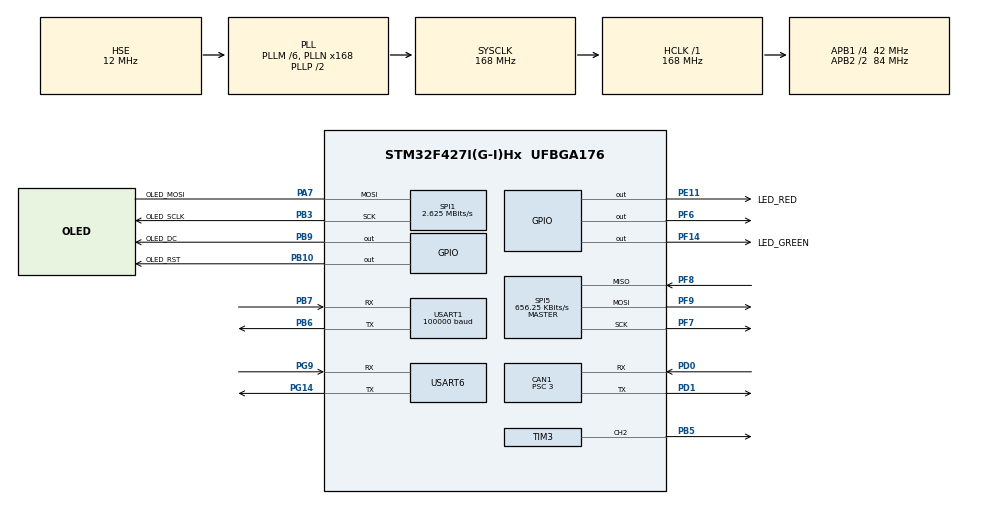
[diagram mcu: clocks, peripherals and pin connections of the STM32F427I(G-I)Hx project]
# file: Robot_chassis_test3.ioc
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CAN1.BS1=CAN_BS1_9TQ
CAN1.BS2=CAN_BS2_4TQ
CAN1.CalculateTimeQuantum=71.42857142857143
CAN1.Prescaler=3
CAN1.SJW=CAN_SJW_1TQ
Dma.Request0=USART1_RX
Dma.USART1_RX.0.Direction=DMA_PERIPH_TO_MEMORY
Dma.USART1_RX.0.FIFOMode=DMA_FIFOMODE_DISABLE
Dma.USART1_RX.0.Instance=DMA2_Stream2
Dma.USART1_RX.0.MemDataAlignment=DMA_MDATAALIGN_BYTE
Dma.USART1_RX.0.MemInc=DMA_MINC_ENABLE
Dma.USART1_RX.0.Mode=DMA_NORMAL
Dma.USART1_RX.0.PeriphDataAlignment=DMA_PDATAALIGN_BYTE
Dma.USART1_RX.0.PeriphInc=DMA_PINC_DISABLE
Dma.USART1_RX.0.Priority=DMA_PRIORITY_LOW
FREERTOS.Tasks01=vStart_Task,3,128,StartTask,Default,NULL,Dynamic,NULL,NULL;vInitial_Task,0,128,Initial_Task,Default,NULL,Dynamic,NULL,NULL;vChassis_Task,0,128,Chassis_Task,Default,NULL,Dynamic,NULL,NULL;vGimbal_Task,1,128,Gimbal_Task,Default,NULL,Dynamic,NULL,NULL;vProtect_Task,-2,128,Protect_Task,Default,NULL,Dynamic,NULL,NULL;vTask_10ms,2,128,Task_10ms,Default,NULL,Dynamic,NULL,NULL;vOut_Control,3,128,Out_Control,Default,NULL,Dynamic,NULL,NULL;vRevolver_Task,2,128,Revolver_Task,Default,NULL,Dynamic,NULL,NULL;vTest_Task,0,128,Test_Task,Default,NULL,Dynamic,NULL,NULL
FREERTOS.configGENERATE_RUN_TIME_STATS=1
FREERTOS.configUSE_STATS_FORMATTING_FUNCTIONS=1
FREERTOS.configUSE_TRACE_FACILITY=1
Mcu.Family=STM32F4
Mcu.Name=STM32F427I(G-I)Hx
Mcu.Package=UFBGA176
NVIC.CAN1_RX0_IRQn=true\:12\:0\:true\:false\:true\:true\:true\:true
NVIC.CAN1_TX_IRQn=true\:12\:0\:true\:false\:true\:true\:true\:true
NVIC.DMA2_Stream2_IRQn=true\:5\:0\:false\:false\:true\:true\:false\:true
NVIC.PriorityGroup=NVIC_PRIORITYGROUP_4
NVIC.TIM4_IRQn=true\:5\:0\:false\:false\:true\:true\:true\:true
NVIC.USART1_IRQn=true\:6\:0\:true\:false\:true\:true\:true\:true
PA13.Mode=Serial_Wire
PA13.Signal=SYS_JTMS-SWDIO
PA14.Mode=Serial_Wire
PA14.Signal=SYS_JTCK-SWCLK
PA7.GPIO_Label=OLED_MOSI
PA7.Mode=Simplex_Bidirectional_Master
PA7.Signal=SPI1_MOSI
PB10.GPIO_Label=OLED_RST
PB10.Signal=GPIO_Output
PB3.GPIO_Label=OLED_SCLK
PB3.Mode=Simplex_Bidirectional_Master
PB3.Signal=SPI1_SCK
PB5.GPIO_Speed=GPIO_SPEED_FREQ_VERY_HIGH
PB5.Signal=S_TIM3_CH2
PB6.Mode=Asynchronous
PB6.Signal=USART1_TX
PB7.Mode=Asynchronous
PB7.Signal=USART1_RX
PB9.GPIO_Label=OLED_DC
PB9.Signal=GPIO_Output
PD0.Mode=Master
PD0.Signal=CAN1_RX
PD1.Mode=Master
PD1.Signal=CAN1_TX
PE11.GPIO_Label=LED_RED
PE11.Signal=GPIO_Output
PF14.GPIO_Label=LED_GREEN
PF14.Signal=GPIO_Output
PF6.PinState=GPIO_PIN_SET
PF6.Signal=GPIO_Output
PF7.Mode=Full_Duplex_Master
PF7.Signal=SPI5_SCK
PF8.Mode=Full_Duplex_Master
PF8.Signal=SPI5_MISO
PF9.Mode=Full_Duplex_Master
PF9.Signal=SPI5_MOSI
PG14.Mode=Asynchronous
PG14.Signal=USART6_TX
PG9.Mode=Asynchronous
PG9.Signal=USART6_RX
PH0/OSC_IN.Mode=HSE-External-Oscillator
PH0/OSC_IN.Signal=RCC_OSC_IN
PH1/OSC_OUT.Mode=HSE-External-Oscillator
PH1/OSC_OUT.Signal=RCC_OSC_OUT
ProjectManager.HeapSize=0x200
ProjectManager.StackSize=0x400
ProjectManager.TargetToolchain=MDK-ARM V5
RCC.48MHZClocksFreq_Value=84000000
RCC.AHBFreq_Value=168000000
RCC.APB1CLKDivider=RCC_HCLK_DIV4
RCC.APB1Freq_Value=42000000
RCC.APB1TimFreq_Value=84000000
RCC.APB2CLKDivider=RCC_HCLK_DIV2
RCC.APB2Freq_Value=84000000
RCC.APB2TimFreq_Value=168000000
RCC.CortexFreq_Value=168000000
RCC.HCLKFreq_Value=168000000
RCC.HSE_VALUE=12000000
RCC.HSI_VALUE=16000000
RCC.LSE_VALUE=32768
RCC.PLLM=6
RCC.PLLN=168
RCC.PLLSourceVirtual=RCC_PLLSOURCE_HSE
RCC.SYSCLKFreq_VALUE=168000000
RCC.SYSCLKSource=RCC_SYSCLKSOURCE_PLLCLK
RCC.VCOOutputFreq_Value=336000000
SH.S_TIM3_CH2.0=TIM3_CH2,PWM Generation2 CH2
SPI1.BaudRatePrescaler=SPI_BAUDRATEPRESCALER_32
SPI1.CalculateBaudRate=2.625 MBits/s
SPI1.Direction=SPI_DIRECTION_1LINE
SPI1.Mode=SPI_MODE_MASTER
SPI1.VirtualType=VM_MASTER
SPI5.BaudRatePrescaler=SPI_BAUDRATEPRESCALER_128
SPI5.CalculateBaudRate=656.25 KBits/s
SPI5.Direction=SPI_DIRECTION_2LINES
SPI5.Mode=SPI_MODE_MASTER
SPI5.VirtualType=VM_MASTER
TIM3.Channel-PWM\ Generation2\ CH2=TIM_CHANNEL_2
TIM3.Period=4199
TIM3.Prescaler=9
TIM4.AutoReloadPreload=TIM_AUTORELOAD_PRELOAD_ENABLE
TIM4.Period=839
TIM4.Prescaler=99
USART1.BaudRate=100000
USART1.VirtualMode=VM_ASYNC
USART6.VirtualMode=VM_ASYNC
VP_FREERTOS_VS_CMSIS_V1.Mode=CMSIS_V1
VP_TIM4_VS_ClockSourceINT.Mode=Internal
board=custom

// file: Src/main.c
/* USER CODE BEGIN Header */
/**
  ******************************************************************************
  * @file           : main.c
  * @brief          : Main program body
  ******************************************************************************
  * @attention
  *
  * <h2><center>&copy; Copyright (c) 2019 STMicroelectronics.
  * All rights reserved.</center></h2>
  *
  * This software component is licensed by ST under Ultimate Liberty license
  * SLA0044, the "License"; You may not use this file except in compliance with
  * the License. You may obtain a copy of the License at:
  *                             www.st.com/SLA0044
  *
  ******************************************************************************
  */
/* USER CODE END Header */

#include "main.h"
#include "cmsis_os.h"
#include "can.h"
#include "dma.h"
#include "spi.h"
#include "tim.h"
#include "usart.h"
#include "gpio.h"

void SystemClock_Config(void);
void MX_FREERTOS_Init(void);

int main(void)
{

  /* MCU Configuration--------------------------------------------------------*/

  /* Reset of all peripherals, Initializes the Flash interface and the Systick. */
  HAL_Init();

  /* Configure the system clock */
  SystemClock_Config();

  /* Initialize all configured peripherals */
  MX_GPIO_Init();
  MX_DMA_Init();
  MX_CAN1_Init();
  MX_SPI1_Init();
  MX_USART1_UART_Init();
  MX_USART6_UART_Init();
  MX_SPI5_Init();
  MX_TIM3_Init();
  MX_TIM4_Init();
  /* USER CODE BEGIN 2 */
	can_user_init(&hcan1);															//can设备准备好
	HAL_UART_Receive_IT_IDLE(&huart1,UART_Buffer,100);   //启动串口接收

  /* USER CODE END 2 */

  /* Call init function for freertos objects (in freertos.c) */
  MX_FREERTOS_Init();

  /* Start scheduler */
  osKernelStart();

  /* We should never get here as control is now taken by the scheduler */

  /* Infinite loop */
  while (1)
  {

  }
}

void SystemClock_Config(void)
{
  RCC_OscInitTypeDef RCC_OscInitStruct = {0};
  RCC_ClkInitTypeDef RCC_ClkInitStruct = {0};

  /** Configure the main internal regulator output voltage
  */
  __HAL_RCC_PWR_CLK_ENABLE();
  __HAL_PWR_VOLTAGESCALING_CONFIG(PWR_REGULATOR_VOLTAGE_SCALE1);
  /** Initializes the CPU, AHB and APB busses clocks
  */
  RCC_OscInitStruct.OscillatorType = RCC_OSCILLATORTYPE_HSE;
  RCC_OscInitStruct.HSEState = RCC_HSE_ON;
  RCC_OscInitStruct.PLL.PLLState = RCC_PLL_ON;
  RCC_OscInitStruct.PLL.PLLSource = RCC_PLLSOURCE_HSE;
  RCC_OscInitStruct.PLL.PLLM = 6;
  RCC_OscInitStruct.PLL.PLLN = 168;
  RCC_OscInitStruct.PLL.PLLP = RCC_PLLP_DIV2;
  RCC_OscInitStruct.PLL.PLLQ = 4;
  if (HAL_RCC_OscConfig(&RCC_OscInitStruct) != HAL_OK)
  {
    Error_Handler();
  }
  /** Initializes the CPU, AHB and APB busses clocks
  */
  RCC_ClkInitStruct.ClockType = RCC_CLOCKTYPE_HCLK|RCC_CLOCKTYPE_SYSCLK
                              |RCC_CLOCKTYPE_PCLK1|RCC_CLOCKTYPE_PCLK2;
  RCC_ClkInitStruct.SYSCLKSource = RCC_SYSCLKSOURCE_PLLCLK;
  RCC_ClkInitStruct.AHBCLKDivider = RCC_SYSCLK_DIV1;
  RCC_ClkInitStruct.APB1CLKDivider = RCC_HCLK_DIV4;
  RCC_ClkInitStruct.APB2CLKDivider = RCC_HCLK_DIV2;

  if (HAL_RCC_ClockConfig(&RCC_ClkInitStruct, FLASH_LATENCY_5) != HAL_OK)
  {
    Error_Handler();
  }
}

void Error_Handler(void)
{
}

/************************ (C) COPYRIGHT STMicroelectronics *****END OF FILE****/

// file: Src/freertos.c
/* USER CODE BEGIN Header */
/**
  ******************************************************************************
  * File Name          : freertos.c
  * Description        : Code for freertos applications
  ******************************************************************************
  * @attention
  *
  * <h2><center>&copy; Copyright (c) 2019 STMicroelectronics.
  * All rights reserved.</center></h2>
  *
  * This software component is licensed by ST under Ultimate Liberty license
  * SLA0044, the "License"; You may not use this file except in compliance with
  * the License. You may obtain a copy of the License at:
  *                             www.st.com/SLA0044
  *
  ******************************************************************************
  */
/* USER CODE END Header */

#include "FreeRTOS.h"
#include "task.h"
#include "main.h"
#include "cmsis_os.h"

/* USER CODE BEGIN Includes */
#include "Initial_Task.h"

#include "Chassis_Task.h"

#include "dji_remote.h"
/* USER CODE END Includes */

/* USER CODE BEGIN PTD */
#define SYSTEM_TEST 0 			//测试程序，用来测试各个模块的状态通过0 1来控制
#define SYSTEM_PROTCET 1		//保护程序开启控制0 1控制
/* USER CODE END PTD */

osThreadId vStart_TaskHandle;
osThreadId vInitial_TaskHandle;
osThreadId vChassis_TaskHandle;
osThreadId vGimbal_TaskHandle;
osThreadId vProtect_TaskHandle;
osThreadId vTask_10msHandle;
osThreadId vOut_ControlHandle;
osThreadId vRevolver_TaskHandle;
osThreadId vTest_TaskHandle;

void StartTask(void const * argument);
void Initial_Task(void const * argument);
void Chassis_Task(void const * argument);
void Gimbal_Task(void const * argument);
void Protect_Task(void const * argument);
void Task_10ms(void const * argument);
void Out_Control(void const * argument);
void Revolver_Task(void const * argument);
void Test_Task(void const * argument);

void MX_FREERTOS_Init(void); /* (MISRA C 2004 rule 8.1) */

/* GetIdleTaskMemory prototype (linked to static allocation support) */
void vApplicationGetIdleTaskMemory( StaticTask_t **ppxIdleTaskTCBBuffer, StackType_t **ppxIdleTaskStackBuffer, uint32_t *pulIdleTaskStackSize );

/* Hook prototypes */
void configureTimerForRunTimeStats(void);
unsigned long getRunTimeCounterValue(void);

/* USER CODE BEGIN 1 */
/* Functions needed when configGENERATE_RUN_TIME_STATS is on */
__weak void configureTimerForRunTimeStats(void)
{

}

__weak unsigned long getRunTimeCounterValue(void)
{
	return 0;
}
/* USER CODE END 1 */

/* USER CODE BEGIN GET_IDLE_TASK_MEMORY */
static StaticTask_t xIdleTaskTCBBuffer;
static StackType_t xIdleStack[configMINIMAL_STACK_SIZE];

void vApplicationGetIdleTaskMemory( StaticTask_t **ppxIdleTaskTCBBuffer, StackType_t **ppxIdleTaskStackBuffer, uint32_t *pulIdleTaskStackSize )
{
  *ppxIdleTaskTCBBuffer = &xIdleTaskTCBBuffer;
  *ppxIdleTaskStackBuffer = &xIdleStack[0];
  *pulIdleTaskStackSize = configMINIMAL_STACK_SIZE;
  /* place for user code */
}
/* USER CODE END GET_IDLE_TASK_MEMORY */

void MX_FREERTOS_Init(void) {

  /* Create the thread(s) */
  /* definition and creation of vStart_Task */
		osThreadDef(vStart_Task, StartTask, osPriorityRealtime, 0, 128);
		vStart_TaskHandle = osThreadCreate(osThread(vStart_Task), NULL);
  /* USER CODE BEGIN RTOS_THREADS */
  /* add threads, ... */
	printf("Everything is ready!\nStart to fight!!!!!\n");
  /* USER CODE END RTOS_THREADS */

}

void StartTask(void const * argument)
{

  /* USER CODE BEGIN StartTask */
		portENTER_CRITICAL();
	/************程序测试任务**************/
	#if SYSTEM_TEST
		osThreadDef(vTest_Task, Test_Task, osPriorityNormal, 0, 128);
		vTest_TaskHandle = osThreadCreate(osThread(vTest_Task), NULL);
	#else
	/************初始化任务**************/
		osThreadDef(vInitial_Task, Initial_Task, osPriorityRealtime, 0, 128);
		vInitial_TaskHandle = osThreadCreate(osThread(vInitial_Task), NULL);

	/************底盘任务****************/
		osThreadDef(vChassis_Task, Chassis_Task, osPriorityNormal, 0, 128);
		vChassis_TaskHandle = osThreadCreate(osThread(vChassis_Task), NULL);

	/************云台任务****************/
		osThreadDef(vGimbal_Task, Gimbal_Task, osPriorityAboveNormal, 0, 128);
		vGimbal_TaskHandle = osThreadCreate(osThread(vGimbal_Task), NULL);

	/************拨盘任务****************/
		osThreadDef(vRevolver_Task, Revolver_Task, osPriorityHigh, 0, 128);
		vRevolver_TaskHandle = osThreadCreate(osThread(vRevolver_Task), NULL);

	/************10ms任务**************/
		osThreadDef(vTask_10ms, Task_10ms, osPriorityHigh, 0, 128);
		vTask_10msHandle = osThreadCreate(osThread(vTask_10ms), NULL);
	#endif

	#if SYSTEM_PROTCET
	/************任务失控任务**************/
		osThreadDef(vOut_Control, Out_Control, osPriorityHigh, 0, 128);
		vOut_ControlHandle = osThreadCreate(osThread(vOut_Control), NULL);

	/************失控任务控制**************/
		osThreadDef(vProtect_Task, Protect_Task, osPriorityLow, 0, 128);
		vProtect_TaskHandle = osThreadCreate(osThread(vProtect_Task), NULL);
	#endif

	vTaskDelete(vStart_TaskHandle); //删除开始任务
  portEXIT_CRITICAL();
  /* Infinite loop */
  for(;;)
  {
    osDelay(1);
  }
  /* USER CODE END StartTask */
}

void Protect_Task(void const * argument)
{
  /* USER CODE BEGIN Protect_Task */
	static portTickType System_Current_Time;
  /* Infinite loop */
  for(;;)
  {
		System_Current_Time = xTaskGetTickCount();	//获取当前系统时间
//		printf("%d %d \n",System_Current_Time,Latest_Remote_Control_Pack_Time);//系统获取时间调试
		if(System_Current_Time - Latest_Remote_Control_Pack_Time >5)//接收机离线50ms
		{
			vTaskSuspend(vChassis_TaskHandle);		//将任务挂起
			vTaskSuspend(vGimbal_TaskHandle);
			vTaskSuspend(vRevolver_TaskHandle);
			vTaskSuspend(vTask_10msHandle);

			vTaskResume(vOut_ControlHandle);//解挂失控保护控制任务
		}
		else
		{
			vTaskResume(vChassis_TaskHandle);		//恢复任务
			vTaskResume(vGimbal_TaskHandle);
			vTaskResume(vRevolver_TaskHandle);
			vTaskResume(vTask_10msHandle);

			vTaskSuspend(vOut_ControlHandle);//挂起失控保护控制任务
		}
    osDelayUntil (&System_Current_Time,50);     //绝对延时50ms
  }

  /* USER CODE END Protect_Task */
}

void Task_10ms(void const * argument)
{
  for(;;)
  {
    osDelay(1);
  }
}

void Out_Control(void const * argument)
{
  for(;;)
  {
    osDelay(1);
  }
}

/************************ (C) COPYRIGHT STMicroelectronics *****END OF FILE****/
